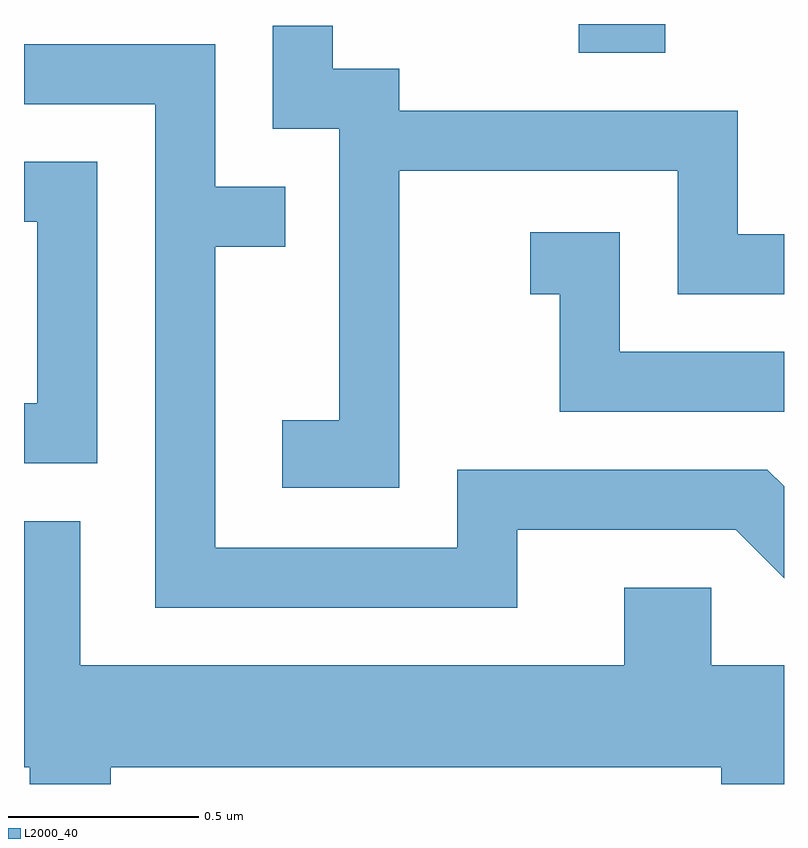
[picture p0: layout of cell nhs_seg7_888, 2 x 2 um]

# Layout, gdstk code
import gdstk
lib = gdstk.Library(unit=1e-6, precision=1e-09)
def R(c, l, rs):  # rectangles x0, y0, x1, y1
    for r in rs: c.add(gdstk.rectangle(r[:2], r[2:], *l))
def P(c, l, *ps):  # polygons
    for p in ps: c.add(gdstk.Polygon(p, *l))
L2000_40 = (2000, 40)

nhs_seg7_888 = lib.new_cell('nhs_seg7_888')
R(nhs_seg7_888, L2000_40, [(193.071,1736.176,193.299,1736.252)])
P(nhs_seg7_888, L2000_40, [(192.599,1735.866),(193.331,1735.866),(193.331,1735.541),(193.611,1735.541),(193.611,1735.699),(193.489,1735.699),(193.489,1736.024),(192.599,1736.024),(192.599,1736.134),(192.424,1736.134),(192.424,1736.248),(192.266,1736.248),(192.266,1735.976),(192.441,1735.976),(192.441,1735.209),(192.291,1735.209),(192.291,1735.031),(192.599,1735.031)],
  [(192.909,1734.921),(193.484,1734.921),(193.611,1734.794),(193.611,1735.035),(193.567,1735.079),(192.751,1735.079),(192.751,1734.874),(192.114,1734.874),(192.114,1735.666),(192.298,1735.666),(192.298,1735.824),(192.114,1735.824),(192.114,1736.199),(191.611,1736.199),(191.611,1736.041),(191.956,1736.041),(191.956,1734.716),(192.909,1734.716)],
  [(191.804,1735.889),(191.611,1735.889),(191.611,1735.731),(191.646,1735.731),(191.646,1735.254),(191.611,1735.254),(191.611,1735.096),(191.804,1735.096)],
  [(193.611,1735.389),(193.179,1735.389),(193.179,1735.704),(192.943,1735.704),(192.943,1735.541),(193.021,1735.541),(193.021,1735.231),(193.611,1735.231)],
  [(191.839,1734.296),(193.446,1734.296),(193.446,1734.252),(193.611,1734.252),(193.611,1734.564),(193.419,1734.564),(193.419,1734.769),(193.191,1734.769),(193.191,1734.564),(191.759,1734.564),(191.759,1734.944),(191.611,1734.944),(191.611,1734.296),(191.626,1734.296),(191.626,1734.252),(191.839,1734.252)])

lib.write_gds('nhs_seg7_888.gds')
